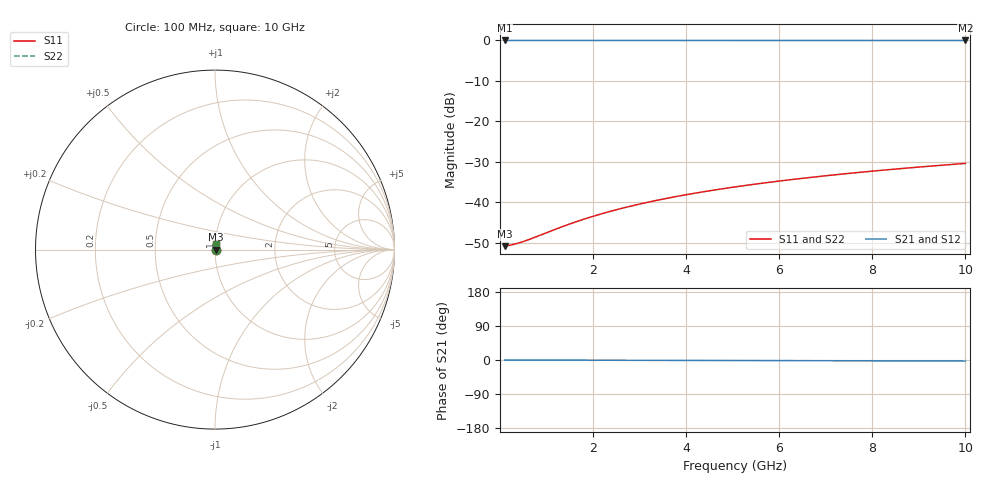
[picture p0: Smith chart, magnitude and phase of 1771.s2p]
# Hz S RI R 50.00
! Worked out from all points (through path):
!   100 points, 100 MHz to 10 GHz, reference 50 ohm
!   highest |S21| = -0.02 dB at 100 MHz (marker M1); lowest = 0.0 dB at 10 GHz (marker M2)
!   lowest |S11| = -50.8 dB at 100 MHz (marker M3), VSWR 1.01, Z = 50.3 + j0.0301 ohm
!   |S11| at or under -10 dB: start of sweep to end of sweep
!   |S22| runs from -50.8 to -30.4 dB; largest |S21 - S12| = 0
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1e8  0.00286 0.000299  0.9971 -0.000466  0.9971 -0.000466  0.00286 0.000299
2e8  0.00287 0.000598  0.9971 -0.000932  0.9971 -0.000932  0.00287 0.000598
3e8  0.00289 0.000897  0.9971 -0.0014  0.9971 -0.0014  0.00289 0.000897
5e8  0.00291 0.0015  0.9971 -0.00233  0.9971 -0.00233  0.00291 0.0015
7e8  0.00293 0.00209  0.9971 -0.00326  0.9971 -0.00326  0.00293 0.00209
1.2e9  0.00297 0.00359  0.997 -0.00559  0.997 -0.00559  0.00297 0.00359
1.4e9  0.00299 0.00419  0.997 -0.00653  0.997 -0.00653  0.00299 0.00419
1.8e9  0.00302 0.00538  0.997 -0.00839  0.997 -0.00839  0.00302 0.00538
2.2e9  0.00306 0.00658  0.9969 -0.0103  0.9969 -0.0103  0.00306 0.00658
2.6e9  0.0031 0.00778  0.9969 -0.0121  0.9969 -0.0121  0.0031 0.00778
3e9  0.00314 0.00897  0.9968 -0.014  0.9968 -0.014  0.00314 0.00897
3.4e9  0.00319 0.0102  0.9968 -0.0158  0.9968 -0.0158  0.00319 0.0102
3.8e9  0.00324 0.0114  0.9967 -0.0177  0.9967 -0.0177  0.00324 0.0114
4.2e9  0.00329 0.0126  0.9967 -0.0196  0.9967 -0.0196  0.00329 0.0126
4.6e9  0.00335 0.0138  0.9966 -0.0214  0.9966 -0.0214  0.00335 0.0138
5.1e9  0.00343 0.0152  0.9965 -0.0238  0.9965 -0.0238  0.00343 0.0152
5.9e9  0.00357 0.0176  0.9964 -0.0275  0.9964 -0.0275  0.00357 0.0176
6.7e9  0.00373 0.02  0.9962 -0.0312  0.9962 -0.0312  0.00373 0.02
7.5e9  0.0039 0.0224  0.996 -0.0349  0.996 -0.0349  0.0039 0.0224
8.4e9  0.00412 0.0251  0.9958 -0.0391  0.9958 -0.0391  0.00412 0.0251
9.2e9  0.00433 0.0275  0.9955 -0.0429  0.9955 -0.0429  0.00433 0.0275
1e10  0.00456 0.0299  0.9953 -0.0466  0.9953 -0.0466  0.00456 0.0299
